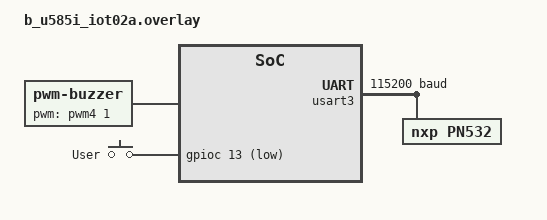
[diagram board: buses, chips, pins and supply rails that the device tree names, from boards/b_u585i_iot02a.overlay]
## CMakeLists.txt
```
# SPDX-License-Identifier: Apache-2.0

cmake_minimum_required(VERSION 3.20.0)
find_package(Zephyr REQUIRED HINTS $ENV{ZEPHYR_BASE})
project(zephyr_nfc_hce)

if (CONFIG_NETWORKING)
  include(${ZEPHYR_BASE}/samples/net/common/common.cmake)
endif()

if (CONFIG_USB_DEVICE_STACK_NEXT)
  include(${ZEPHYR_BASE}/samples/subsys/usb/common/common.cmake)
endif()

target_sources(app PRIVATE
    # src/main.c
    src/web.c
    # src/auth.c
    # src/prov.c
    src/app.c
)

zephyr_linker_sources(SECTIONS sections-rom.ld)
zephyr_linker_section(NAME http_resource_desc_web_service KVMA RAM_REGION GROUP RODATA_REGION)

set(gen_dir ${ZEPHYR_BINARY_DIR}/include/generated/)

set(source_file_index web/index.html)
generate_inc_file_for_target(app ${source_file_index} ${gen_dir}/index.html.gz.inc --gzip)
```

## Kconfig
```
source "Kconfig.zephyr"
source "samples/subsys/usb/common/Kconfig.sample_usbd"
```

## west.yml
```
manifest:

  defaults:
    remote: zephyrproject

  remotes:
    - name: zephyrproject
      url-base: https://github.com/zephyrproject-rtos

    - name: bytefull
      url-base: https://github.com/bytefull

  projects:
    - name: zephyr
      repo-path: zephyr
      revision: main
      path: zephyr
      import:
        path-prefix: dependencies
        name-allowlist:
          - cmsis_6
          - hal_stm32
          - tf-psa-crypto
          - mbedtls

    - name: pn532
      remote: bytefull
      revision: london-meetup
      repo-path: pn532
      path: dependencies/modules/pn532
      import: true

  self:
    path: application
```

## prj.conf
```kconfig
# Logging
CONFIG_LOG=y
CONFIG_LOG_INFO_COLOR_GREEN=y
CONFIG_LOG_DBG_COLOR_BLUE=y
CONFIG_LOG_OUTPUT_FORMAT_TIME_TIMESTAMP=y
CONFIG_LOG_OUTPUT_FORMAT_DATE_TIMESTAMP=y

# UART
CONFIG_SERIAL=y
CONFIG_UART_INTERRUPT_DRIVEN=y

# Shell
CONFIG_SHELL=y
CONFIG_KERNEL_SHELL=y

# Debugging
CONFIG_DEBUG=y
CONFIG_DEBUG_THREAD_INFO=y
CONFIG_NO_OPTIMIZATIONS=y
CONFIG_SIZE_OPTIMIZATIONS=n
CONFIG_THREAD_STACK_INFO=y
CONFIG_COMPILER_WARNINGS_AS_ERRORS=y
CONFIG_INIT_STACKS=y
CONFIG_STACK_USAGE=y
CONFIG_EARLY_CONSOLE=y
CONFIG_ENTROPY_GENERATOR=y
CONFIG_TEST_RANDOM_GENERATOR=y

# PN532 NFC module
CONFIG_PN532=y
CONFIG_PN532_LOG_LEVEL=0

# Input subsystem
CONFIG_INPUT=y

# Settings subsystem
CONFIG_NVS=y
CONFIG_FLASH=y
CONFIG_FLASH_MAP=y
CONFIG_FLASH_PAGE_LAYOUT=y
CONFIG_SETTINGS=y

# Hardware Entropy for Nonce generation
CONFIG_ENTROPY_GENERATOR=y

# Enable PSA Crypto API
CONFIG_MBEDTLS=y
CONFIG_MBEDTLS_PSA_CRYPTO_C=y
CONFIG_MBEDTLS_PSA_P256M_DRIVER_ENABLED=y

# PSA Features for ECDSA P-256
CONFIG_PSA_CRYPTO=y
CONFIG_PSA_WANT_KEY_TYPE_ECC_PUBLIC_KEY=y
CONFIG_PSA_WANT_ECC_SECP_R1_256=y
CONFIG_PSA_WANT_ALG_ECDSA=y
CONFIG_PSA_WANT_ALG_SHA_256=y

########################### Network configuration options ###########################
# Generic networking options
CONFIG_NETWORKING=y
CONFIG_NET_LOG=y
CONFIG_NET_SHELL=y
CONFIG_NET_UDP=y
CONFIG_NET_TCP=y
CONFIG_NET_IPV6=n
CONFIG_NET_IPV4=y
CONFIG_NET_SOCKETS=y
CONFIG_NET_STATISTICS=y
CONFIG_NET_CONNECTION_MANAGER=y

# Network buffers
CONFIG_NET_PKT_RX_COUNT=16
CONFIG_NET_PKT_TX_COUNT=16
CONFIG_NET_BUF_RX_COUNT=128
CONFIG_NET_BUF_TX_COUNT=128
CONFIG_NET_CONTEXT_NET_PKT_POOL=y

# IP address options
CONFIG_NET_MAX_CONTEXTS=32
CONFIG_NET_MAX_CONN=32

# Network application options and configuration
CONFIG_NET_CONFIG_SETTINGS=y
CONFIG_NET_CONFIG_NEED_IPV4=y
CONFIG_NET_CONFIG_MY_IPV4_ADDR="192.0.2.1"
CONFIG_NET_CONFIG_PEER_IPV4_ADDR="192.0.2.2"

# HTTP server
CONFIG_HTTP_PARSER_URL=y
CONFIG_HTTP_PARSER=y
CONFIG_HTTP_SERVER=y
CONFIG_HTTP_SERVER_CLIENT_BUFFER_SIZE=8192
CONFIG_NET_HTTP_SERVER_LOG_LEVEL_DBG=n
CONFIG_HTTP_SERVER_VERSION_1=y
CONFIG_HTTP_SERVER_VERSION_2=n
CONFIG_HTTP_SERVER_CLIENT_INACTIVITY_TIMEOUT=5
CONFIG_HTTP_SERVER_MAX_CLIENTS=8

# General config
CONFIG_ZVFS_POLL_MAX=32

# Eventfd
CONFIG_EVENTFD=y

# Network debug config
CONFIG_NET_SOCKETS_LOG_LEVEL_DBG=y
CONFIG_NET_HTTP_LOG_LEVEL_DBG=y
CONFIG_NET_IPV4_LOG_LEVEL_DBG=n

# Application
CONFIG_SMF=y
CONFIG_BUZZER=y
```

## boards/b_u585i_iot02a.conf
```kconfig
# Debugging
CONFIG_DEBUG_COREDUMP=y

# USB Device Settings
CONFIG_USB_DEVICE_STACK_NEXT=y
CONFIG_USB_DEVICE_INITIALIZE_AT_BOOT=n
CONFIG_CDC_ACM_SERIAL_INITIALIZE_AT_BOOT=n
CONFIG_UDC_DRIVER_LOG_LEVEL_WRN=y
CONFIG_USBD_LOG_LEVEL_WRN=y
CONFIG_SAMPLE_USBD_MANUFACTURER="Zephyr Project"
CONFIG_SAMPLE_USBD_PRODUCT="USBD sample"
CONFIG_SAMPLE_USBD_PID=0x0001

# Networking
CONFIG_NET_L2_ETHERNET=y
CONFIG_NET_ARP=y
CONFIG_NET_MGMT=y
CONFIG_NET_MGMT_EVENT=y
CONFIG_NET_CONFIG_AUTO_INIT=y
CONFIG_NET_CONFIG_SETTINGS=y
CONFIG_NET_CONFIG_NEED_IPV4=y
CONFIG_NET_DHCPV4=n
CONFIG_NET_CONFIG_MY_IPV4_ADDR="192.168.7.100"
CONFIG_NET_CONFIG_MY_IPV4_NETMASK="255.255.255.0"
CONFIG_NET_CONFIG_MY_IPV4_GW="192.168.7.1"
CONFIG_NET_STATISTICS=y

# Settings
CONFIG_SETTINGS_NVS=y
```

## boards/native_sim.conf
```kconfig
# Route UART0 to stdin/stdout so the shell prompt is visible in the terminal
CONFIG_UART_NATIVE_PTY_0_ON_STDINOUT=y
# Disable shell log backend to avoid duplicate logs on the same UART0/stdout
CONFIG_SHELL_LOG_BACKEND=n
# Allow DBG logs through the runtime filter (default is INF which drops DBG)
CONFIG_LOG_RUNTIME_DEFAULT_LEVEL=4

# GPIO
CONFIG_GPIO=y

# Networking (offloaded)
CONFIG_ETH_NATIVE_TAP=n
CONFIG_NET_DRIVERS=y
CONFIG_NET_SOCKETS=y
CONFIG_NET_SOCKETS_OFFLOAD=y
CONFIG_NET_NATIVE_OFFLOADED_SOCKETS=y
CONFIG_HEAP_MEM_POOL_SIZE=131072

# HTTP Server
CONFIG_SYSTEM_WORKQUEUE_STACK_SIZE=4096
CONFIG_HTTP_SERVER_STACK_SIZE=4096

# Settings
CONFIG_FILE_SYSTEM=y
CONFIG_FILE_SYSTEM_NATIVE_MOUNT=y
CONFIG_SETTINGS_FILE=y
CONFIG_SETTINGS_FILE_PATH="/settings/settings.bin"
```

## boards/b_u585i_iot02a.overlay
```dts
#include <zephyr/dt-bindings/input/input-event-codes.h>

/ {

	buzzer: buzzer {
		compatible = "pwm-buzzer";
		pwms = <&pwm4 1 PWM_HZ(2700) PWM_POLARITY_NORMAL>;
	};

    cdc_ncm_eth0: cdc_ncm_eth0 {
        compatible = "zephyr,cdc-ncm-ethernet";
        remote-mac-address = "00005E005301";
    };

    buttons: gpio_keys {
        compatible = "gpio-keys";

        user_button: button {
            label = "User";
            gpios = <&gpioc 13 (GPIO_ACTIVE_LOW | GPIO_PULL_UP)>;
            zephyr,code = <INPUT_BTN_0>;
        };
    };

    longpress {
        compatible = "zephyr,input-longpress";
        input-codes = <INPUT_BTN_0>;
        long-codes = <INPUT_BTN_0>;
        long-delay-ms = <2000>;
    };

    aliases {
		buzzer0 = &buzzer;
        prov-buttons = &buttons;
    };
};

&usart3 {
    status = "okay";
    current-speed = <115200>;
    pn532 {
        compatible = "nxp,pn532";
    };
};
```

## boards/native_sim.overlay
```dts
#include <zephyr/dt-bindings/input/input-event-codes.h>

/ {
    buzzer0: buzzer {
        compatible = "gpio-buzzer";
        gpios = <&gpio0 0 GPIO_ACTIVE_HIGH>;
    };

    buttons: gpio_keys {
        compatible = "gpio-keys";

        user_button: button {
            label = "User";
            gpios = <&gpio0 1 (GPIO_ACTIVE_LOW | GPIO_PULL_UP)>;
            zephyr,code = <INPUT_BTN_0>;
        };
    };

    longpress {
        compatible = "zephyr,input-longpress";
        input-codes = <INPUT_BTN_0>;
        long-codes = <INPUT_BTN_0>;
        long-delay-ms = <2000>;
    };

    aliases {
        buzzer0 = &buzzer0;
        prov-buttons = &buttons;
    };
};

&uart1 {
    status = "okay";
    compatible = "zephyr,native-pty-uart";

    pn532 {
        compatible = "nxp,pn532";
    };
};

&buzzer0 {
    status = "okay";
};
```

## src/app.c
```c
/*
 * Copyright (c) 2026 Bayrem Gharsellaoui
 * SPDX-License-Identifier: Apache-2.0
 */

#include <zephyr/kernel.h>
#include <zephyr/device.h>
#include <zephyr/shell/shell.h>
#include <zephyr/input/input.h>
#include <zephyr/settings/settings.h>
#include <zephyr/smf.h>
#include <zephyr/logging/log.h>
LOG_MODULE_REGISTER(app, LOG_LEVEL_DBG);

#define APP_SETTINGS_KEY              "app"
#define APP_SETTINGS_PROV_KEY         "app/provisioned"
#define APP_DEFAULT_PROVISIONED_VALUE 0

struct smf_event {
	uint32_t id;
};

enum app_events {
	EVENT_BUTTON_LONG_PRESS,
	EVENT_BUTTON_SHORT_PRESS,
	EVENT_MAX,
};

struct state_machine {
	struct smf_ctx ctx;
	struct smf_event event;
} app_state_machine;

enum app_states {
	STATE_UNPROVISIONED,
	STATE_NORMAL,
	STATE_ENROLMENT,
};

static void app_thread_entry(void *p1, void *p2, void *p3);
static int app_settings_set(const char *key, size_t len, settings_read_cb read_cb, void *cb_arg);
static int app_settings_export(int (*cb)(const char *key, const void *data, size_t data_len));
static void app_long_press_cb(struct input_event *evt, void *user_data);
static int app_cmd_fake_provision(const struct shell *sh, size_t argc, char **argv);
static int app_cmd_fake_longpress(const struct shell *sh, size_t argc, char **argv);

static void state_unprovisioned_entry(void *obj);
static enum smf_state_result state_unprovisioned_run(void *obj);
static void state_unprovisioned_exit(void *obj);

static void state_normal_entry(void *obj);
static enum smf_state_result state_normal_run(void *obj);
static void state_normal_exit(void *obj);

static void state_enrolment_entry(void *obj);
static enum smf_state_result state_enrolment_run(void *obj);
static void state_enrolment_exit(void *obj);

static uint8_t device_is_provisioned = APP_DEFAULT_PROVISIONED_VALUE;

static const struct device *const longpress_dev = DEVICE_DT_GET(DT_PATH(longpress));
static const struct device *const prov_buttons_dev = DEVICE_DT_GET(DT_ALIAS(prov_buttons));
static const struct smf_state app_states[] = {
	[STATE_UNPROVISIONED] = SMF_CREATE_STATE(state_unprovisioned_entry, state_unprovisioned_run, state_unprovisioned_exit, NULL, NULL),
	[STATE_NORMAL] = SMF_CREATE_STATE(state_normal_entry, state_normal_run, state_normal_exit, NULL, NULL),
	[STATE_ENROLMENT] = SMF_CREATE_STATE(state_enrolment_entry, state_enrolment_run, state_enrolment_exit, NULL, NULL),
};

K_THREAD_DEFINE(app_thread, 4096, app_thread_entry, NULL, NULL, NULL, 8, 0, 0);
K_MSGQ_DEFINE(app_msgq, sizeof(struct smf_event), 8, 1);
INPUT_CALLBACK_DEFINE(longpress_dev, app_long_press_cb, NULL);
SHELL_CMD_REGISTER(app_fake_provision, NULL, "Fake device provisioning", app_cmd_fake_provision);
SHELL_CMD_REGISTER(app_fake_longpress, NULL, "Fake long press", app_cmd_fake_longpress);
SETTINGS_STATIC_HANDLER_DEFINE(app, APP_SETTINGS_KEY, NULL, app_settings_set, NULL, app_settings_export);

static void app_thread_entry(void *p1, void *p2, void *p3)
{
	ARG_UNUSED(p1);
	ARG_UNUSED(p2);
	ARG_UNUSED(p3);
	int ret;

	LOG_INF("Application thread started...");
	smf_set_initial(SMF_CTX(&app_state_machine), &app_states[STATE_UNPROVISIONED]);

	ret = settings_subsys_init();
	if (ret) {
		LOG_ERR("settings subsys initialization: fail (err %d)", ret);
		return;
	}
	ret = settings_load_subtree(APP_SETTINGS_KEY);
	if (ret) {
		LOG_ERR("settings load: fail (err %d)", ret);
		return;
	}

	if (device_is_provisioned) {
		LOG_INF("Device is provisioned");
		smf_set_state(SMF_CTX(&app_state_machine), &app_states[STATE_NORMAL]);
	} else {
		LOG_WRN("Device is not provisioned");
		smf_set_state(SMF_CTX(&app_state_machine), &app_states[STATE_UNPROVISIONED]);
	}

	while (1) {
		int ret = k_msgq_get(&app_msgq, &app_state_machine.event, K_FOREVER);
		if (ret != 0) {
			LOG_ERR("Waiting for event failed, code %d", ret);
			k_msleep(1000);
			continue;
		}
		/* Run state machine with given message */
		ret = smf_run_state(SMF_CTX(&app_state_machine));
		if (ret) {
			/* State machine terminates if a non-zero value is returned */
			LOG_INF("%s terminating state machine thread", __func__);
			break;
		}
	}
}

static int app_settings_set(const char *key, size_t len, settings_read_cb read_cb, void *cb_arg)
{
	if (strcmp(key, "provisioned") == 0) {
		if (len != sizeof(device_is_provisioned)) {
			LOG_WRN("size mismatch for key '%s': stored %zu vs expected %zu", key, len, sizeof(device_is_provisioned));
			return -EINVAL;
		}
		ssize_t ret =
			read_cb(cb_arg, &device_is_provisioned, sizeof(device_is_provisioned));
		if (ret < 0) {
			/* propagate error */
			return (int)ret;
		}
		if (ret == 0) {
			/* key was deleted */
			LOG_WRN("key '%s' deleted, resetting to default value: %d", key, APP_DEFAULT_PROVISIONED_VALUE);
			device_is_provisioned = APP_DEFAULT_PROVISIONED_VALUE;
		}
		/* success */
		return 0;
	}
	return -ENOENT;
}

static int app_settings_export(int (*cb)(const char *key, const void *data, size_t data_len))
{
	return cb(APP_SETTINGS_PROV_KEY, &device_is_provisioned, sizeof(device_is_provisioned));
}

static void app_long_press_cb(struct input_event *evt, void *user_data)
{
	ARG_UNUSED(user_data);

	LOG_DBG("type=%d code=%d value=%d sync=%d", evt->type, evt->code, evt->value, evt->sync);

	if (!evt->sync) {
		return;
	}
	if (evt->type != INPUT_EV_KEY) {
		return;
	}
	switch (evt->code) {
	case INPUT_BTN_0:
		LOG_INF("Long press: button %i", evt->code);
		struct smf_event event = {
			.id = EVENT_BUTTON_LONG_PRESS,
		};
		k_msgq_put(&app_msgq, &event, K_NO_WAIT);
		break;
	}
}

static int app_cmd_fake_provision(const struct shell *sh, size_t argc, char **argv)
{
	ARG_UNUSED(sh);

	int ret;

	if (argc != 2) {
		shell_error(sh, "usage: app_fake_provision <0|1>");
		return -EINVAL;
	}

	if (strcmp(argv[1], "0") == 0) {
		device_is_provisioned = false;
	} else if (strcmp(argv[1], "1") == 0) {
		device_is_provisioned = true;
	} else {
		shell_error(sh, "invalid argument: %s, expected 0 or 1", argv[1]);
		return -EINVAL;
	}

	ret = settings_save_one(APP_SETTINGS_PROV_KEY, &device_is_provisioned,
				sizeof(device_is_provisioned));
	if (ret) {
		LOG_ERR("settings save: fail (err %d)", ret);
		return ret;
	}

	LOG_INF("device_is_provisioned set to %d and persisted", device_is_provisioned);
	smf_set_state(SMF_CTX(&app_state_machine), device_is_provisioned ? &app_states[STATE_NORMAL] : &app_states[STATE_UNPROVISIONED]);

	return 0;
}

static int app_cmd_fake_longpress(const struct shell *sh, size_t argc, char **argv)
{
	ARG_UNUSED(sh);
	ARG_UNUSED(argc);
	ARG_UNUSED(argv);

	/* Press */
	input_report_key(prov_buttons_dev, INPUT_BTN_0, 1, true, K_NO_WAIT);
	/* Wait */
	k_msleep(2100);
	/* Release */
	input_report_key(prov_buttons_dev, INPUT_BTN_0, 0, true, K_NO_WAIT);

	return 0;
}

static void state_unprovisioned_entry(void *obj)
{
	LOG_INF("%s", __func__);
}

static enum smf_state_result state_unprovisioned_run(void *obj)
{
	return SMF_EVENT_PROPAGATE;
}

static void state_unprovisioned_exit(void *obj)
{
	LOG_INF("%s", __func__);
}

static void state_normal_entry(void *obj)
{
	LOG_INF("%s", __func__);
}

static enum smf_state_result state_normal_run(void *obj)
{
	enum smf_state_result ret;
	struct state_machine *object = (struct state_machine *)obj;

	switch (object->event.id) {
	case EVENT_BUTTON_LONG_PRESS:
		LOG_INF("EVENT_BUTTON_LONG_PRESS");
		device_is_provisioned = false;
		ret = settings_save_one(APP_SETTINGS_PROV_KEY, &device_is_provisioned, sizeof(device_is_provisioned));
		if (ret) {
			LOG_ERR("settings save failed (%d)", ret);
		}

		smf_set_state(SMF_CTX(object), &app_states[STATE_UNPROVISIONED]);
		ret = SMF_EVENT_HANDLED;
		break;
	case EVENT_BUTTON_SHORT_PRESS:
		LOG_INF("EVENT_BUTTON_SHORT_PRESS");
		ret = SMF_EVENT_HANDLED;
		break;
	default:
		ret = SMF_EVENT_PROPAGATE;
		break;
	}
	return ret;
}

static void state_normal_exit(void *obj)
{
	LOG_INF("%s", __func__);
}

static void state_enrolment_entry(void *obj)
{
	LOG_INF("%s", __func__);
}

static enum smf_state_result state_enrolment_run(void *obj)
{
	enum smf_state_result ret;
	struct state_machine *object = (struct state_machine *)obj;

	switch (object->event.id) {
	case EVENT_BUTTON_LONG_PRESS:
	case EVENT_BUTTON_SHORT_PRESS:
	default:
		ret = SMF_EVENT_PROPAGATE;
		break;
	}
	return ret;
}

static void state_enrolment_exit(void *obj)
{
	LOG_INF("%s", __func__);
}
```

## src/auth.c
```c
/*
 * Copyright (c) 2026 Bayrem Gharsellaoui
 * SPDX-License-Identifier: Apache-2.0
 */

#include <zephyr/kernel.h>
#include <zephyr/drivers/buzzer.h>
#include <zephyr/logging/log.h>
LOG_MODULE_REGISTER(auth, LOG_LEVEL_DBG);

#include <psa/crypto.h>
#include <psa/crypto_values.h>

#include "pn532.h"

#define NONCE_SIZE             32
#define APDU_RESPONSE_MAX_SIZE 255

static int verify_android_signature(const uint8_t *nonce, const uint8_t *signature, size_t sig_len);

static void auth_thread_entry(void *p1, void *p2, void *p3);
K_THREAD_DEFINE(auth_thread, 4096, auth_thread_entry, NULL, NULL, NULL, 8, 0, 0);

/*
 * SELECT APDU (AID selection)
 * AID = F123456789ABCDE1 (8 bytes)
 */
static const uint8_t SELECT_APDU_CMD[] = {
	0x00,                                           /* CLA (Standard) */
	0xA4,                                           /* INS (SELECT) */
	0x04,                                           /* P1 (select by AID) */
	0x00,                                           /* P2 */
	0x08,                                           /* Lc: length = 8 bytes */
	0xF1, 0x23, 0x45, 0x67, 0x89, 0xAB, 0xCD, 0xE1, /* AID (F123456789ABCDE1) */
	0x00                                            /* Le */
};

/*
 * CHALLENGE APDU header (to request signature of the nonce from the Android device)
 */
static const uint8_t CHALLENGE_APDU_HEADER[] = {
	0x80, /* CLA (Proprietary) */
	0x10, /* INS (Challenge) */
	0x00, /* P1 */
	0x00, /* P2 */
	0x20  /* Lc (32 bytes) */
};

/*
 * Authorized public key (uncompressed format, 65 bytes: 0x04 || X || Y)
 * Corresponds to the private key used by the Android device to sign the nonce.
 */
static const uint8_t AUTHORIZED_PUBLIC_KEY[] = {
	0x04, 0x89, 0x04, 0x9E, 0xBD, 0x0A, 0x86, 0xFD, 0x4D, 0xA3, 0x64, 0x82, 0x11,
	0x20, 0xA6, 0x23, 0x57, 0x57, 0x31, 0x2A, 0xEB, 0x11, 0xC1, 0x85, 0x71, 0x68,
	0xC7, 0x5D, 0x6F, 0x9A, 0x92, 0xB3, 0x9D, 0x67, 0x44, 0x3A, 0x1E, 0x7B, 0xD2,
	0x72, 0x4C, 0x00, 0x36, 0x00, 0x30, 0xA0, 0xF1, 0x77, 0x1E, 0x13, 0x88, 0x65,
	0xC2, 0xF7, 0xBC, 0x00, 0xCD, 0x1E, 0x1B, 0xCC, 0x67, 0x1E, 0xD6, 0x55, 0xAF};

static void auth_thread_entry(void *p1, void *p2, void *p3)
{
	ARG_UNUSED(p1);
	ARG_UNUSED(p2);
	ARG_UNUSED(p3);

	const struct device *buzzer_dev = DEVICE_DT_GET(DT_ALIAS(buzzer0));
	const struct device *pn532_dev = DEVICE_DT_GET_ONE(nxp_pn532);
	uint8_t nonce[NONCE_SIZE] = {0};
	uint8_t challenge_apdu[sizeof(CHALLENGE_APDU_HEADER) + sizeof(nonce)] = {0};
	uint8_t response[APDU_RESPONSE_MAX_SIZE] = {0};
	uint8_t resp_len = 0;

	if (psa_crypto_init() != PSA_SUCCESS) {
		LOG_ERR("PSA Crypto init failed");
		return;
	}

	if (!device_is_ready(buzzer_dev)) {
		LOG_ERR("Buzzer device %s not ready", buzzer_dev->name);
		return;
	}
	buzzer_set_volume(buzzer_dev, 50);

	if (!device_is_ready(pn532_dev)) {
		LOG_ERR("PN532 device not ready");
		return;
	}

	LOG_INF("System ready. Waiting for NFC target...");

	while (1) {
		/* 1. DISCOVERY */
		if (pn532_in_list_passive_target(pn532_dev) < 0) {
			k_msleep(200);
			continue;
		}
		LOG_INF("Target detected");

		/* 2. SELECT AID */
		resp_len = sizeof(response);
		if (pn532_in_data_exchange(pn532_dev, (uint8_t *)SELECT_APDU_CMD,
					   sizeof(SELECT_APDU_CMD), response, &resp_len) < 0) {
			LOG_WRN("AID selection failed");
			continue;
		}

		if ((resp_len < 2) || (response[resp_len - 2] != 0x90) ||
		    (response[resp_len - 1] != 0x00)) {
			LOG_WRN("AID rejected");
			continue;
		}

		LOG_INF("Received SELECT AID response");
		LOG_HEXDUMP_DBG(response, resp_len, "Response:");

		LOG_INF("AID selected");

		/* 3. GENERATE NONCE */
		if (psa_generate_random(nonce, sizeof(nonce)) != PSA_SUCCESS) {
			LOG_ERR("Failed to generate nonce");
			continue;
		}
		LOG_HEXDUMP_DBG(nonce, sizeof(nonce),
				"Generated " STRINGIFY(NONCE_SIZE) "-byte nonce:");

		/* Build challenge APDU */
		memcpy(challenge_apdu, CHALLENGE_APDU_HEADER, sizeof(CHALLENGE_APDU_HEADER));
		memcpy(challenge_apdu + sizeof(CHALLENGE_APDU_HEADER), nonce, sizeof(nonce));

		/* Send challenge APDU and receive response */
		resp_len = sizeof(response);
		if (pn532_in_data_exchange(pn532_dev, challenge_apdu, sizeof(challenge_apdu),
					   response, &resp_len) < 0) {
			LOG_ERR("Challenge failed");
			continue;
		}

		LOG_INF("Received signature response");
		LOG_DBG("Response length: %d bytes", resp_len);
		LOG_HEXDUMP_DBG(response, resp_len, "Response:");

		/* 4. VERIFY RESPONSE */
		if (resp_len >= 2) {
			if ((response[resp_len - 2] != 0x90) || (response[resp_len - 1] != 0x00)) {
				LOG_WRN("Invalid response format");
				continue;
			}
		} else {
			LOG_WRN("Signature response too short");
			continue;
		}

		const uint8_t *signature = response;
		/* -2 to exclude the status words (SW1, SW2) at the end of the response */
		size_t sig_len = resp_len - 2;

		LOG_INF("Verifying signature...");

		if (verify_android_signature(nonce, signature, sig_len) < 0) {
			LOG_ERR("AUTH FAILED (signature invalid)");
			buzzer_beep(buzzer_dev, 2000);
			continue;
		}

		LOG_INF("AUTH SUCCESS (verified signature)");
		buzzer_beep(buzzer_dev, 1000);
		k_msleep(5000);
	}
}

static int verify_android_signature(const uint8_t *nonce, const uint8_t *signature, size_t sig_len)
{
	psa_status_t status;
	mbedtls_svc_key_id_t key_id;
	psa_key_attributes_t attributes = PSA_KEY_ATTRIBUTES_INIT;

	/* 1. Setup Key Attributes */
	psa_set_key_type(&attributes, PSA_KEY_TYPE_ECC_PUBLIC_KEY(PSA_ECC_FAMILY_SECP_R1));
	psa_set_key_algorithm(&attributes, PSA_ALG_ECDSA(PSA_ALG_SHA_256));
	psa_set_key_usage_flags(&attributes, PSA_KEY_USAGE_VERIFY_MESSAGE);

	/* 2. Import Public Key */
	status = psa_import_key(&attributes, AUTHORIZED_PUBLIC_KEY, sizeof(AUTHORIZED_PUBLIC_KEY),
				&key_id);
	if (status != PSA_SUCCESS) {
		LOG_ERR("Key import failed (%d)", status);
		return -1;
	}

	/* 3. Verify Signature */
	status = psa_verify_message(key_id, PSA_ALG_ECDSA(PSA_ALG_SHA_256), nonce, NONCE_SIZE,
				    signature, sig_len);
	if (status != PSA_SUCCESS) {
		LOG_ERR("Signature verification failed (%d)", status);
		/* Destroy the key before returning */
	}

	psa_destroy_key(key_id);

	return (status == PSA_SUCCESS) ? 0 : -1;
}
```

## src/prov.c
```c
/*
 * Copyright (c) 2026 Bayrem Gharsellaoui
 * SPDX-License-Identifier: Apache-2.0
 */

#include <zephyr/kernel.h>
#include <zephyr/input/input.h>
#include <zephyr/shell/shell.h>
#include <zephyr/logging/log.h>
LOG_MODULE_REGISTER(prov, LOG_LEVEL_DBG);

#include "pn532.h"

static const struct device *const longpress_dev = DEVICE_DT_GET(DT_PATH(longpress));
static const struct device *const prov_buttons_dev = DEVICE_DT_GET(DT_ALIAS(prov_buttons));

static void prov_thread_entry(void *p1, void *p2, void *p3);
static void prov_longpress_cb(struct input_event *evt, void *user_data);
static int prov_cmd_fake_longpress(const struct shell *sh, size_t argc, char **argv);

K_THREAD_DEFINE(prov_thread, 4096, prov_thread_entry, NULL, NULL, NULL, 8, 0, 0);
INPUT_CALLBACK_DEFINE(longpress_dev, prov_longpress_cb, NULL);
SHELL_CMD_REGISTER(prov_fake_longpress, NULL, "Fake long press", prov_cmd_fake_longpress);

static void prov_thread_entry(void *p1, void *p2, void *p3)
{
	ARG_UNUSED(p1);
	ARG_UNUSED(p2);
	ARG_UNUSED(p3);

	LOG_INF("Provisioning thread started...");

	while (1) {
		k_msleep(2000);
	}
}

static void prov_longpress_cb(struct input_event *evt, void *user_data)
{
	ARG_UNUSED(user_data);

	LOG_DBG("type=%d code=%d value=%d sync=%d", evt->type, evt->code, evt->value, evt->sync);

	if (!evt->sync) {
		return;
	}
	if (evt->type != INPUT_EV_KEY) {
		return;
	}
	switch (evt->code) {
	case INPUT_BTN_0:
		LOG_INF("Long press: button %i", evt->code);
		break;
	}
}

/*
 * Fake the sync'd longpress event that prov_longpress_cb expects
 */
static int prov_cmd_fake_longpress(const struct shell *sh, size_t argc, char **argv)
{
	ARG_UNUSED(sh);
	ARG_UNUSED(argc);
	ARG_UNUSED(argv);

	/* Press */
	input_report_key(prov_buttons_dev, INPUT_BTN_0, 1, true, K_NO_WAIT);
	/* Wait */
	k_msleep(2100);
	/* Release */
	input_report_key(prov_buttons_dev, INPUT_BTN_0, 0, true, K_NO_WAIT);

	return 0;
}
```

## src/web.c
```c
/*
 * Copyright (c) 2026 Bayrem Gharsellaoui
 * SPDX-License-Identifier: Apache-2.0
 */

#include <string.h>

#include <zephyr/kernel.h>
#include <zephyr/drivers/gpio.h>
#include <zephyr/net/http/server.h>
#include <zephyr/net/http/service.h>
#include <zephyr/logging/log.h>
LOG_MODULE_REGISTER(web, LOG_LEVEL_DBG);

#include "net_sample_common.h"
#ifdef CONFIG_USB_DEVICE_STACK_NEXT
#include "sample_usbd.h"
#endif /* CONFIG_USB_DEVICE_STACK_NEXT */

static void web_thread_entry(void *p1, void *p2, void *p3);
K_THREAD_DEFINE(web_thread, 4096, web_thread_entry, NULL, NULL, NULL, 8, 0, 0);

static bool led_on = false;
static const struct gpio_dt_spec led = GPIO_DT_SPEC_GET(DT_ALIAS(led0), gpios);

static const uint16_t http_service_port = 8080;
HTTP_SERVICE_DEFINE(web_service, "0.0.0.0", &http_service_port, 8, 10, NULL, NULL, NULL);

static int led_request_handler(struct http_client_ctx *client, enum http_transaction_status status,
			       const struct http_request_ctx *request_ctx,
			       struct http_response_ctx *response_ctx, void *user_data);

/* *************************** favicon.ico *************************** */
static const uint8_t favicon[] = {0};
static struct http_resource_detail_static favicon_resource_detail = {
	.common =
		{
			.type = HTTP_RESOURCE_TYPE_STATIC,
			.bitmask_of_supported_http_methods = BIT(HTTP_GET),
			.content_type = "image/x-icon",
		},
	.static_data = favicon,
	.static_data_len = sizeof(favicon),
};
HTTP_RESOURCE_DEFINE(favicon_resource, web_service, "/favicon.ico", &favicon_resource_detail);

/* *************************** index.html *************************** */
static const uint8_t index_html_gz[] = {
#include "index.html.gz.inc"
};
static struct http_resource_detail_static index_html_gz_resource_detail = {
	.common =
		{
			.type = HTTP_RESOURCE_TYPE_STATIC,
			.bitmask_of_supported_http_methods = BIT(HTTP_GET),
			.content_encoding = "gzip",
			.content_type = "text/html",
		},
	.static_data = index_html_gz,
	.static_data_len = sizeof(index_html_gz),
};
HTTP_RESOURCE_DEFINE(index_html_gz_resource, web_service, "/", &index_html_gz_resource_detail);

/* *************************** json data *************************** */
static struct http_resource_detail_static json_message_resource_detail = {
	.common =
		{
			.type = HTTP_RESOURCE_TYPE_STATIC,
			.bitmask_of_supported_http_methods = BIT(HTTP_GET),
			.content_type = "application/json",
		},
	.static_data = "{\"message\":\"HTTP server is running\"}",
	.static_data_len = sizeof("{\"message\":\"HTTP server is running\"}") - 1,
};
HTTP_RESOURCE_DEFINE(json_message_resource, web_service, "/data", &json_message_resource_detail);

/* *************************** led *************************** */
static struct http_resource_detail_dynamic led_resource_detail = {
	.common =
		{
			.type = HTTP_RESOURCE_TYPE_DYNAMIC,
			.bitmask_of_supported_http_methods = BIT(HTTP_GET) | BIT(HTTP_POST),
			.content_type = "application/json",
		},
	.cb = led_request_handler,
	.user_data = NULL,
};
HTTP_RESOURCE_DEFINE(led_resource, web_service, "/led", &led_resource_detail);
static int led_request_handler(struct http_client_ctx *client, enum http_transaction_status status,
			       const struct http_request_ctx *request_ctx,
			       struct http_response_ctx *response_ctx, void *user_data)
{
	ARG_UNUSED(user_data);
	static size_t cursor = 0;

	if (client->method == HTTP_GET) {
		static char response[32] = {'\0'};

		snprintk(response, sizeof(response), "{\"led\":%s}", led_on ? "true" : "false");
		response_ctx->status = 200;
		response_ctx->body = response;
		response_ctx->body_len = strlen(response);
		response_ctx->final_chunk = true;
	} else if (client->method == HTTP_POST) {
		static char post_payload[64] = {'\0'};

		/* Reset on abort/complete */
		if ((status == HTTP_SERVER_TRANSACTION_ABORTED) ||
		    (status == HTTP_SERVER_TRANSACTION_COMPLETE)) {
			cursor = 0;
			return 0;
		}

		/* Prevent overflow */
		if ((cursor + request_ctx->data_len) >= sizeof(post_payload)) {
			cursor = 0;
			return -ENOMEM;
		}

		/* Append chunk */
		memcpy(post_payload + cursor, request_ctx->data, request_ctx->data_len);

		cursor += request_ctx->data_len;

		/* Null terminate */
		post_payload[cursor] = '\0';

		/* Wait until final chunk */
		if (status == HTTP_SERVER_REQUEST_DATA_FINAL) {
			LOG_DBG("Received JSON: %s", post_payload);
			if (strcmp(post_payload, "{\"led\":true}") == 0) {
				LOG_INF("LED ON");
				gpio_pin_set_dt(&led, 1);
				led_on = true;
			} else if (strcmp(post_payload, "{\"led\":false}") == 0) {
				LOG_INF("LED OFF");
				gpio_pin_set_dt(&led, 0);
				led_on = false;
			} else {
				LOG_WRN("Unknown payload");
			}
			cursor = 0;
		}
	}

	return 0;
}

static void web_thread_entry(void *p1, void *p2, void *p3)
{
	ARG_UNUSED(p1);
	ARG_UNUSED(p2);
	ARG_UNUSED(p3);

	/* Initialize USB Device */
	IF_ENABLED(CONFIG_USB_DEVICE_STACK_NEXT, ({
		struct usbd_context *sample_usbd = sample_usbd_init_device(NULL);
		if (sample_usbd == NULL) {
			LOG_ERR("Failed to initialize USB device");
			return;
		}
		if (usbd_enable(sample_usbd) < 0) {
			LOG_ERR("Failed to enable USB device");
			return;
		}
	}));

	/* Block thread to wait for getting an IP address from the network */
	wait_for_network();
	LOG_INF("Network is ready");

	/* Start HTTP server in a background thread */
	http_server_start();
	LOG_INF("Starting HTTP server...");

	/* Configure LED GPIO */
	if (!gpio_is_ready_dt(&led)) {
		return;
	}
	if (gpio_pin_configure_dt(&led, GPIO_OUTPUT_ACTIVE) < 0) {
		return;
	}

	while (1) {
		k_msleep(2000);
	}
}
```
